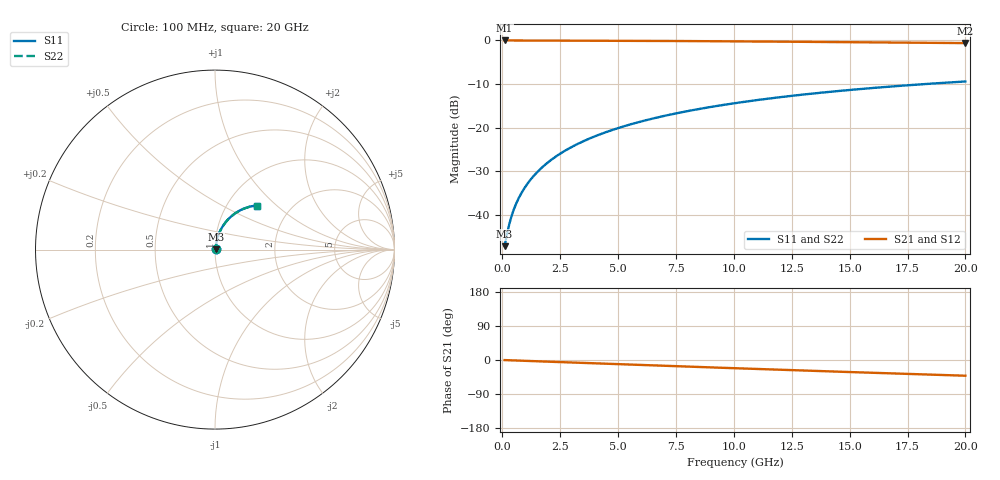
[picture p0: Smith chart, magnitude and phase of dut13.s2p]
! Touchstone file exported from HFSS 2026.1.0
!  File:  C:/ffzhzh/LocalFiles/Ansys_Project_Files/temp_train_BSMRDL_13_1782881914_46784.aedt
!  Generated:  12:59:47 PM Jul  1, 2026
!  Design:  BSMRDL
!  Project:  temp_train_BSMRDL_13_1782881914_46784
! Variables:
!  h_bsmrdl = 2.74um
!  h_ox = 20um
!  h_rdl = 5um
!  h_sub = 80um
!  h_tmrdl = 5um
!  h_tsv = 80um
!  h_via = 3um
!  l_bsmrdl = 626.95um
!  l_sub = 1026.95um
!  l_tmrdl = 200um
!  m_sub = 200um
!  pitch = 43.25um
!  r_tsv = 6um
!  s_tmrdl = 10um
!  w_bsmrdl = 23.06um
!  w_sub = 500um
!  w_tmrdl = 12um
!  x_tsv_center1 = 206um
!  x_tsv_center2 = 856.01um
!  x_tsv_center3 = 1068.01um
!  x_tsv_center4 = 1718.02um
!  x_tsv_center5 = 1930.02um
!  x_tsv_center6 = 2580.03um
# GHz S MA R 50.000000
! Terminal data exported
! Port[1] = BSM_RDL1_1_T1
! Port[2] = BSM_RDL1_1_T2
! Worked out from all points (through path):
!   200 points, 100 MHz to 20 GHz, reference 50 ohm
!   highest |S21| = -0.03 dB at 100 MHz (marker M1); lowest = -0.6 dB at 20 GHz (marker M2)
!   group delay of S21, straight-line fit = 5.77 ps
!   lowest |S11| = -47.1 dB at 100 MHz (marker M3), VSWR 1.01, Z = 50.4 + j0.23 ohm
!   |S11| at or under -10 dB: start of sweep to 18.29 GHz
!   |S22| runs from -47.1 to -9.4 dB; largest |S21 - S12| = 2.1e-15
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0.1  0.004408 31.1  0.9962 -0.2  0.9962 -0.2  0.004408 31.1
! Gamma 0 0 0 0
! Port Impedance 50 0 50 0
0.2  0.005987 48.7  0.9961 -0.5  0.9961 -0.5  0.005987 48.7
0.3  0.007838 57.7  0.9959 -0.7  0.9959 -0.7  0.007838 57.7
0.4  0.009743 62.9  0.9957 -0.9  0.9957 -0.9  0.009743 62.9
0.5  0.01165 66.3  0.9955 -1.1  0.9955 -1.1  0.01165 66.3
0.6  0.01355 68.8  0.9953 -1.4  0.9953 -1.4  0.01355 68.7
0.8  0.01736 72.1  0.9951 -1.8  0.9951 -1.8  0.01736 72.1
1.1  0.02311 75.0  0.9948 -2.5  0.9948 -2.5  0.02311 75.0
1.3  0.02697 76.2  0.9946 -2.9  0.9946 -2.9  0.02697 76.2
1.6  0.03281 77.4  0.9943 -3.6  0.9943 -3.6  0.03281 77.4
2.1  0.04259 78.2  0.9938 -4.6  0.9938 -4.6  0.04259 78.2
2.7  0.05435 78.2  0.993 -6.0  0.993 -6.0  0.05435 78.2
3.5  0.06999 77.6  0.9918 -7.7  0.9918 -7.7  0.06999 77.6
4.2  0.08358 76.7  0.9905 -9.2  0.9905 -9.2  0.08358 76.6
5  0.09897 75.4  0.9888 -11.0  0.9888 -11.0  0.09897 75.4
5.9  0.1161 73.8  0.9865 -12.9  0.9865 -12.9  0.1161 73.8
6.8  0.1329 72.1  0.984 -14.8  0.984 -14.8  0.1329 72.1
8.3  0.1602 69.2  0.9792 -18.0  0.9792 -18.0  0.1602 69.1
10.1  0.1918 65.6  0.9727 -21.8  0.9727 -21.8  0.1918 65.6
13.4  0.2459 59.1  0.9592 -28.6  0.9592 -28.6  0.2459 59.1
16.7  0.2947 52.8  0.9445 -35.1  0.9445 -35.1  0.2947 52.7
20  0.338 46.6  0.9293 -41.5  0.9293 -41.5  0.3381 46.5
